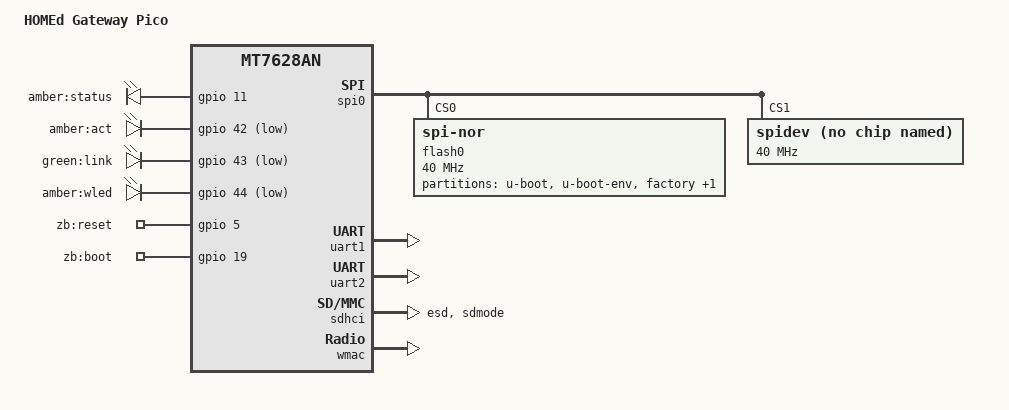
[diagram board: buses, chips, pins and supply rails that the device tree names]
#include "mt7628an.dtsi"

#include <dt-bindings/gpio/gpio.h>
#include <dt-bindings/input/input.h>

/ {
	compatible = "homed,gateway-pico", "mediatek,mt7628an-soc";
	model = "HOMEd Gateway Pico";

	aliases {
		led-boot = &led_status;
		led-failsafe = &led_status;
		led-running = &led_status;
		led-upgrade = &led_status;
	};

	chosen {
		bootargs = "console=ttyS0,57600";
	};

	leds {
		compatible = "gpio-leds";

		led_status: status {
			label = "amber:status";
			gpios = <&gpio 11 GPIO_ACTIVE_HIGH>;
		};

		led_speed: speed {
			label = "amber:act";
			gpios = <&gpio 42 GPIO_ACTIVE_LOW>;
		};

		led_link: link {
			label = "green:link";
			gpios = <&gpio 43 GPIO_ACTIVE_LOW>;
		};

		led_wled: wled {
			label = "amber:wled";
			gpios = <&gpio 44 GPIO_ACTIVE_LOW>;
			linux,default-trigger = "heartbeat";
		};
	};

	gpio-export {
		compatible = "gpio-export";

		reset {
			gpio-export,name = "zb:reset";
			gpio-export,output = <1>;
			gpios = <&gpio 5 GPIO_ACTIVE_HIGH>;
		};

		boot {
			gpio-export,name = "zb:boot";
			gpio-export,output = <1>;
			gpios = <&gpio 19 GPIO_ACTIVE_HIGH>;
		};
	};
};

&state_default {
	gpio {
		groups = "gpio";
		function = "gpio";
	};

	perst {
		groups = "perst";
		function = "gpio";
	};

	refclk {
		groups = "refclk";
		function = "gpio";
	};

	i2s {
		groups = "i2s";
		function = "gpio";
	};

	spis {
		groups = "spis";
		function = "gpio";
	};

	wled_kn {
		groups = "wled_kn";
		function = "gpio";
	};

	wled_an {
		groups = "wled_an";
		function = "gpio";
	};

	wdt {
		groups = "wdt";
		function = "gpio";
	};

	pwm0 {
		groups = "pwm0";
		function = "gpio";
	};

	pwm1 {
		groups = "pwm1";
		function = "gpio";
	};

	p0led_an {
		groups = "p0led_an";
		function = "gpio";
	};

	p1led_an {
		groups = "p1led_an";
		function = "gpio";
	};
};

&spi0 {
	status = "okay";

	pinctrl-names = "default";
	pinctrl-0 = <&spi_pins>, <&spi_cs1_pins>;

	flash0: flash@0 {
		compatible = "jedec,spi-nor";
		reg = <0>;
		spi-max-frequency = <40000000>;
		broken-flash-reset;

		partitions {
			compatible = "fixed-partitions";
			#address-cells = <1>;
			#size-cells = <1>;

			partition@0 {
				label = "u-boot";
				reg = <0x0 0x30000>;
				read-only;
			};

			partition@30000 {
				label = "u-boot-env";
				reg = <0x30000 0x10000>;
				read-only;
			};

			partition@40000 {
				label = "factory";
				reg = <0x40000 0x10000>;
				read-only;

				nvmem-layout {
					compatible = "fixed-layout";
					#address-cells = <1>;
					#size-cells = <1>;

					eeprom_factory_0: eeprom@0 {
						reg = <0x0 0x400>;
					};

					macaddr_factory_28: macaddr@28 {
						reg = <0x28 0x6>;
					};
				};
			};

			firmware: partition@50000 {
				compatible = "denx,uimage";
				label = "firmware";
				reg = <0x50000 0x1fb0000>;
			};
		};
	};

	spidev@1 {
		#address-cells = <1>;
		#size-cells = <1>;
		compatible = "linux,spidev";
		reg = <1>;
		spi-max-frequency = <40000000>;
	};
};

&uart1 {
	status = "okay";
};

&uart2 {
	status = "okay";
};

&ethernet {
	nvmem-cells = <&macaddr_factory_28>;
	nvmem-cell-names = "mac-address";
};

&pinctrl {
	ephy-digital;

	sdxc_iot_mode: sdxc_iot_mode {
		esd {
			groups = "esd";
			function = "iot";
		};

		sdxc {
			groups = "sdmode";
			function = "sdxc";
		};
	};
};

&sdhci {
	status = "okay";

	pinctrl-0 = <&sdxc_iot_mode>;
	pinctrl-1 = <&sdxc_iot_mode>;
};

&wmac {
	status = "okay";

	nvmem-cells = <&eeprom_factory_0>;
	nvmem-cell-names = "eeprom";
};
